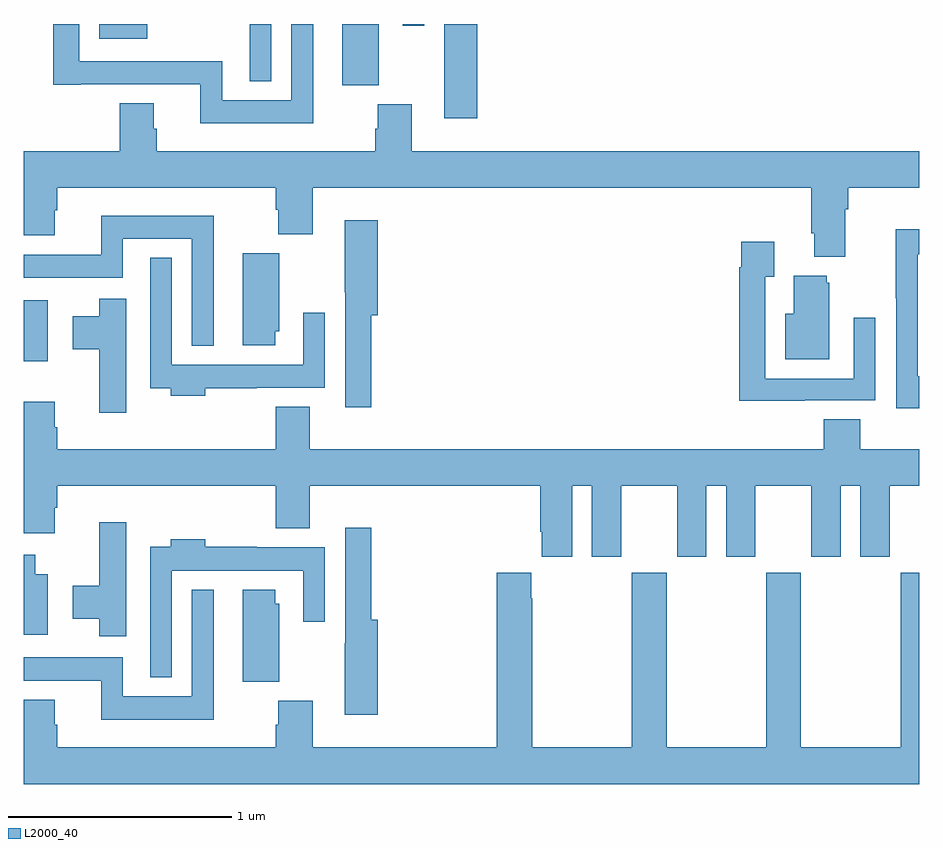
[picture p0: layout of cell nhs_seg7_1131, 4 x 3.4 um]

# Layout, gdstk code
import gdstk
lib = gdstk.Library(unit=1e-6, precision=1e-09)
def R(c, l, rs):  # rectangles x0, y0, x1, y1
    for r in rs: c.add(gdstk.rectangle(r[:2], r[2:], *l))
def P(c, l, *ps):  # polygons
    for p in ps: c.add(gdstk.Polygon(p, *l))
L2000_40 = (2000, 40)

nhs_seg7_1131 = lib.new_cell('nhs_seg7_1131')
R(nhs_seg7_1131, L2000_40, [(191,1014.494,191.107,1014.766), (192.422,1015.726,192.586,1016), (192.009,1015.745,192.105,1016), (191.336,1015.934,191.551,1016), (192.693,1015.992,192.789,1016)])
P(nhs_seg7_1131, L2000_40, [(192.292,1016),(192.195,1016),(192.195,1015.66),(191.886,1015.66),(191.886,1015.834),(191.247,1015.834),(191.247,1016),(191.131,1016),(191.131,1015.728),(191.254,1015.728),(191.254,1015.73),(191.789,1015.73),(191.789,1015.556),(192.292,1015.556)],
  [(193.025,1016),(192.879,1016),(192.879,1015.898),(192.878,1015.898),(192.878,1015.578),(193.025,1015.578)],
  [(194.671,1015.172),(194.684,1015.172),(194.684,1015.268),(195,1015.268),(195,1015.432),(192.734,1015.432),(192.734,1015.641),(192.581,1015.641),(192.581,1015.532),(192.569,1015.532),(192.569,1015.432),(191.594,1015.432),(191.594,1015.533),(191.581,1015.533),(191.581,1015.645),(191.429,1015.645),(191.429,1015.432),(191,1015.432),(191,1015.055),(191.137,1015.055),(191.137,1015.167),(191.15,1015.167),(191.15,1015.268),(192.125,1015.268),(192.125,1015.169),(192.137,1015.169),(192.137,1015.06),(192.29,1015.06),(192.29,1015.268),(194.519,1015.268),(194.519,1015.066),(194.531,1015.066),(194.531,1014.959),(194.671,1014.959)],
  [(191.848,1015.144),(191.345,1015.144),(191.345,1014.97),(191,1014.97),(191,1014.866),(191.442,1014.866),(191.442,1015.04),(191.751,1015.04),(191.751,1014.563),(191.848,1014.563)],
  [(192.551,1014.698),(192.581,1014.698),(192.581,1015.123),(192.434,1015.123),(192.434,1014.802),(192.435,1014.802),(192.435,1014.288),(192.551,1014.288)],
  [(195,1014.426),(194.994,1014.426),(194.994,1014.972),(195,1014.972),(195,1015.082),(194.896,1015.082),(194.896,1014.775),(194.898,1014.775),(194.898,1014.282),(195,1014.282)],
  [(194.489,1014.318),(194.805,1014.318),(194.805,1014.688),(194.709,1014.688),(194.709,1014.414),(194.313,1014.414),(194.313,1014.871),(194.353,1014.871),(194.353,1015.027),(194.205,1015.027),(194.205,1014.914),(194.197,1014.914),(194.197,1014.317),(194.489,1014.317)],
  [(192.124,1014.627),(192.142,1014.627),(192.142,1014.975),(191.978,1014.975),(191.978,1014.564),(192.124,1014.564)],
  [(191.81,1014.372),(192.041,1014.372),(192.041,1014.374),(192.345,1014.374),(192.345,1014.709),(192.249,1014.709),(192.249,1014.478),(191.661,1014.478),(191.661,1014.955),(191.565,1014.955),(191.565,1014.372),(191.657,1014.372),(191.657,1014.338),(191.81,1014.338)],
  [(194.599,1014.843),(194.588,1014.843),(194.588,1014.874),(194.441,1014.874),(194.441,1014.706),(194.402,1014.706),(194.402,1014.503),(194.599,1014.503)],
  [(191.458,1014.772),(191.336,1014.772),(191.336,1014.694),(191.219,1014.694),(191.219,1014.547),(191.336,1014.547),(191.336,1014.264),(191.458,1014.264)],
  [(192.277,1014.289),(192.125,1014.289),(192.125,1014.1),(191.15,1014.1),(191.15,1014.198),(191.137,1014.198),(191.137,1014.313),(191,1014.313),(191,1013.724),(191.137,1013.724),(191.137,1013.838),(191.15,1013.838),(191.15,1013.936),(192.125,1013.936),(192.125,1013.747),(192.277,1013.747),(192.277,1013.936),(193.307,1013.936),(193.307,1013.731),(193.313,1013.731),(193.313,1013.619),(193.45,1013.619),(193.45,1013.936),(193.538,1013.936),(193.538,1013.619),(193.669,1013.619),(193.669,1013.936),(193.919,1013.936),(193.919,1013.619),(194.05,1013.619),(194.05,1013.936),(194.138,1013.936),(194.138,1013.619),(194.269,1013.619),(194.269,1013.936),(194.519,1013.936),(194.519,1013.619),(194.65,1013.619),(194.65,1013.936),(194.738,1013.936),(194.738,1013.619),(194.869,1013.619),(194.869,1013.936),(195,1013.936),(195,1014.1),(194.738,1014.1),(194.738,1014.233),(194.573,1014.233),(194.573,1014.1),(192.277,1014.1)],
  [(191.458,1013.773),(191.336,1013.773),(191.336,1013.49),(191.219,1013.49),(191.219,1013.342),(191.336,1013.342),(191.336,1013.265),(191.458,1013.265)],
  [(192.581,1013.338),(192.551,1013.338),(192.551,1013.749),(192.435,1013.749),(192.435,1013.234),(192.434,1013.234),(192.434,1012.914),(192.581,1012.914)],
  [(191.661,1013.558),(192.249,1013.558),(192.249,1013.328),(192.345,1013.328),(192.345,1013.662),(192.041,1013.662),(192.041,1013.665),(191.81,1013.665),(191.81,1013.698),(191.657,1013.698),(191.657,1013.665),(191.565,1013.665),(191.565,1013.081),(191.661,1013.081)],
  [(191.107,1013.542),(191.05,1013.542),(191.05,1013.629),(191,1013.629),(191,1013.27),(191.107,1013.27)],
  [(195,1013.548),(194.917,1013.548),(194.917,1012.768),(194.472,1012.768),(194.472,1013.548),(194.317,1013.548),(194.317,1012.768),(193.872,1012.768),(193.872,1013.548),(193.717,1013.548),(193.717,1012.768),(193.272,1012.768),(193.272,1013.435),(193.267,1013.435),(193.267,1013.548),(193.112,1013.548),(193.112,1012.768),(192.29,1012.768),(192.29,1012.977),(192.137,1012.977),(192.137,1012.868),(192.125,1012.868),(192.125,1012.768),(191.15,1012.768),(191.15,1012.869),(191.137,1012.869),(191.137,1012.981),(191,1012.981),(191,1012.604),(195,1012.604)],
  [(192.142,1013.409),(192.124,1013.409),(192.124,1013.473),(191.978,1013.473),(191.978,1013.062),(192.142,1013.062)],
  [(191.848,1013.473),(191.751,1013.473),(191.751,1012.996),(191.442,1012.996),(191.442,1013.17),(191,1013.17),(191,1013.066),(191.345,1013.066),(191.345,1012.892),(191.848,1012.892)])

lib.write_gds('nhs_seg7_1131.gds')
